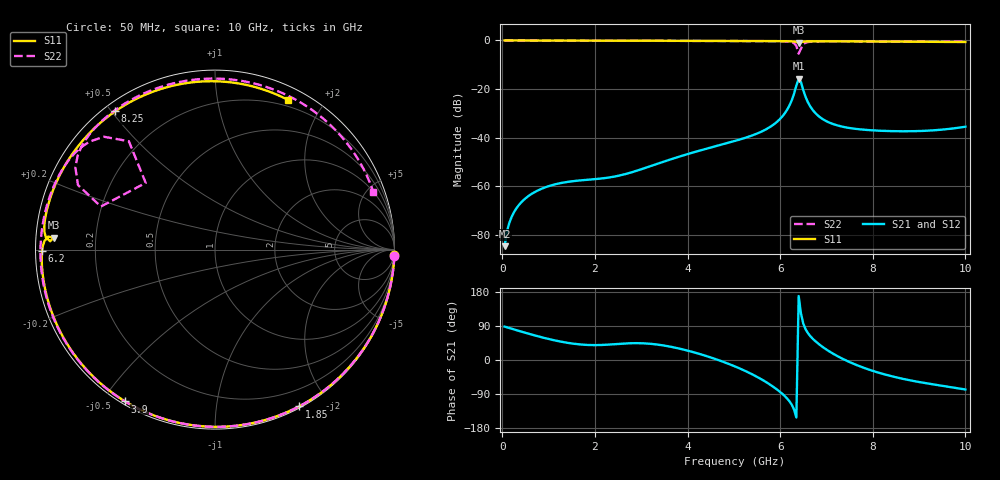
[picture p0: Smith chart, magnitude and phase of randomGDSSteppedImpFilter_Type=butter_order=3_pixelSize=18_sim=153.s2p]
! freq	dB(S11)	phase(S11)	dB(S12)	phase(S12)
!  dB(S21)	phase(S21)	dB(S22)	phase(S22)
!S-par simulation data
#  GHz  S  DB  R 50
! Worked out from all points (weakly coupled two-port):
!   200 points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, 50 MHz to 10 GHz, reference 50 ohm
!   highest |S21| = -15.77 dB at 6.4 GHz (marker M1); lowest = -84.6 dB at 50 MHz (marker M2)
!   lowest |S11| = -0.9 dB at 6.4 GHz (marker M3), VSWR 18.91, Z = 2.65 + j1.84 ohm
!   |S11| at or under -10 dB: nowhere
!   |S22| runs from -5.4 to 0.0 dB; largest |S21 - S12| = 0
!   S11 on the Smith chart (normalised r, x): 50 MHz: 0, -66; 1.85 GHz: 0.02, -1.67; 3.9 GHz: 0.01, -0.57; 6.2 GHz: 0.02, -0.00; 8.25 GHz: 0.03, +0.51; 10 GHz: 0.13, +1.59
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0.05  -0.00 -1.7  -84.61 88.1  -84.61 88.1  -0.00 -2.0
0.3  -0.02 -10.4  -69.18 78.9  -69.18 78.9  -0.02 -12.0
0.6  -0.03 -20.7  -63.52 68.2  -63.52 68.2  -0.03 -23.8
1.1  -0.05 -37.5  -59.37 52.6  -59.37 52.6  -0.05 -43.2
1.75  -0.07 -58.6  -57.44 40.4  -57.44 40.4  -0.08 -67.5
1.85  -0.08 -61.8  -57.28 39.7  -57.28 39.7  -0.09 -71.1
2.6  -0.10 -84.6  -55.24 43.3  -55.24 43.3  -0.12 -97.4
3.4  -0.13 -107.2  -50.40 39.9  -50.40 39.9  -0.15 -123.7
3.9  -0.15 -120.6  -47.32 27.9  -47.32 27.9  -0.17 -139.5
5.05  -0.21 -150.1  -41.18 -18.3  -41.18 -18.3  -0.23 -175.3
5.8  -0.26 -169.0  -35.36 -66.4  -35.36 -66.4  -0.30 160.2
6.2  -0.33 -179.7  -26.78 -108.9  -26.78 -108.9  -0.53 142.9
6.35  -0.61 175.5  -18.57 -151.6  -18.57 -151.6  -2.26 128.5
6.4  -0.92 175.8  -15.77 168.7  -15.77 168.7  -5.42 136.1
6.45  -0.73 177.1  -17.16 122.5  -17.16 122.5  -3.35 159.3
6.5  -0.49 175.8  -20.47 95.8  -20.47 95.8  -1.47 154.8
6.7  -0.34 169.5  -28.52 56.5  -28.52 56.5  -0.49 139.8
7.2  -0.35 155.8  -34.74 12.7  -34.74 12.7  -0.39 119.8
8.25  -0.44 125.8  -37.20 -37.8  -37.20 -37.8  -0.43 82.5
8.35  -0.45 122.8  -37.26 -41.0  -37.26 -41.0  -0.43 78.9
9.25  -0.55 92.9  -37.04 -63.2  -37.04 -63.2  -0.48 46.6
10  -0.65 64.1  -35.47 -77.9  -35.47 -77.9  -0.55 20.1
